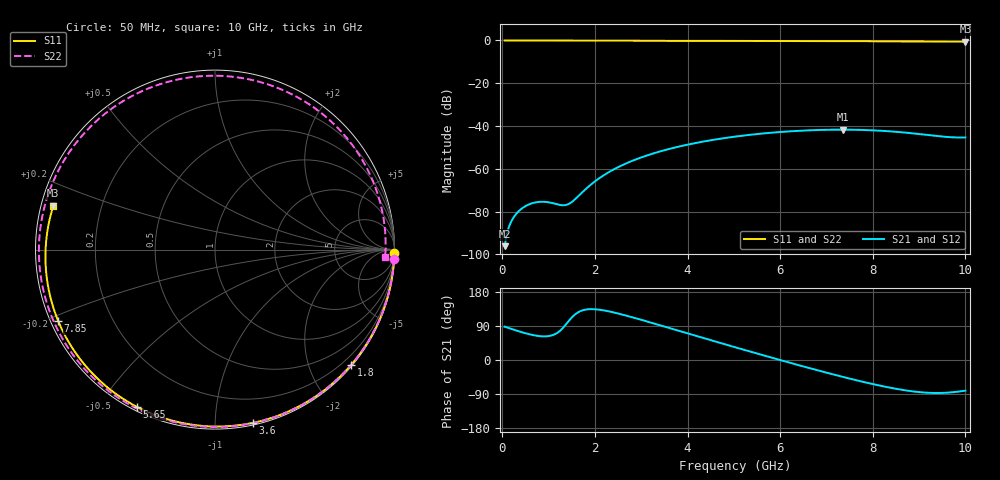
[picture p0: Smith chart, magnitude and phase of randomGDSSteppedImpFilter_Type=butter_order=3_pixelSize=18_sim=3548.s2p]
! freq	dB(S11)	phase(S11)	dB(S12)	phase(S12)
!  dB(S21)	phase(S21)	dB(S22)	phase(S22)
!S-par simulation data
#  GHz  S  DB  R 50
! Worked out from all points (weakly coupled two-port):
!   200 points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, 50 MHz to 10 GHz, reference 50 ohm
!   highest |S21| = -41.70 dB at 7.35 GHz (marker M1); lowest = -96.2 dB at 50 MHz (marker M2)
!   lowest |S11| = -0.6 dB at 10 GHz (marker M3), VSWR 28.90, Z = 1.76 + j6.65 ohm
!   |S11| at or under -10 dB: nowhere
!   |S22| runs from -0.5 to 0.0 dB; largest |S21 - S12| = 0
!   S11 on the Smith chart (normalised r, x): 50 MHz: open; 1.8 GHz: 0.02, -2.73; 3.6 GHz: 0.02, -1.24; 5.65 GHz: 0.02, -0.62; 7.85 GHz: 0.02, -0.22; 10 GHz: 0.04, +0.13
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0.05  -0.00 -1.2  -96.17 88.0  -96.17 88.0  -0.00 -3.1
0.35  -0.01 -8.0  -79.91 76.0  -79.91 76.0  -0.03 -21.1
0.45  -0.01 -10.2  -78.13 72.3  -78.13 72.3  -0.04 -27.0
0.7  -0.02 -15.9  -75.79 64.9  -75.79 64.9  -0.05 -41.5
0.95  -0.03 -21.5  -75.52 62.4  -75.52 62.4  -0.07 -55.4
1.4  -0.04 -31.5  -76.76 97.7  -76.76 97.7  -0.09 -78.8
1.75  -0.05 -39.2  -70.52 131.7  -70.52 131.7  -0.10 -95.3
1.8  -0.05 -40.3  -69.52 133.0  -69.52 133.0  -0.10 -97.5
2.1  -0.06 -46.8  -64.32 132.6  -64.32 132.6  -0.11 -110.4
2.45  -0.07 -54.2  -59.79 124.2  -59.79 124.2  -0.12 -124.4
2.9  -0.08 -63.6  -55.49 109.6  -55.49 109.6  -0.13 -140.8
3.4  -0.10 -73.8  -51.92 91.9  -51.92 91.9  -0.14 -157.6
3.6  -0.10 -77.7  -50.75 84.7  -50.75 84.7  -0.15 -164.0
4.3  -0.13 -91.4  -47.43 59.5  -47.43 59.5  -0.17 174.8
5.05  -0.16 -105.5  -44.89 32.8  -44.89 32.8  -0.20 153.2
5.65  -0.19 -116.5  -43.44 11.9  -43.44 11.9  -0.22 136.1
6.7  -0.26 -135.2  -41.95 -23.6  -41.95 -23.6  -0.26 105.5
7.35  -0.31 -146.6  -41.70 -44.5  -41.70 -44.5  -0.28 85.7
7.85  -0.36 -155.5  -41.89 -59.4  -41.89 -59.4  -0.30 70.0
8.35  -0.41 -164.4  -42.45 -72.6  -42.45 -72.6  -0.32 53.8
9.2  -0.50 -179.9  -44.24 -86.5  -44.24 -86.5  -0.36 25.2
10  -0.60 164.8  -45.33 -81.0  -45.33 -81.0  -0.46 -2.4
